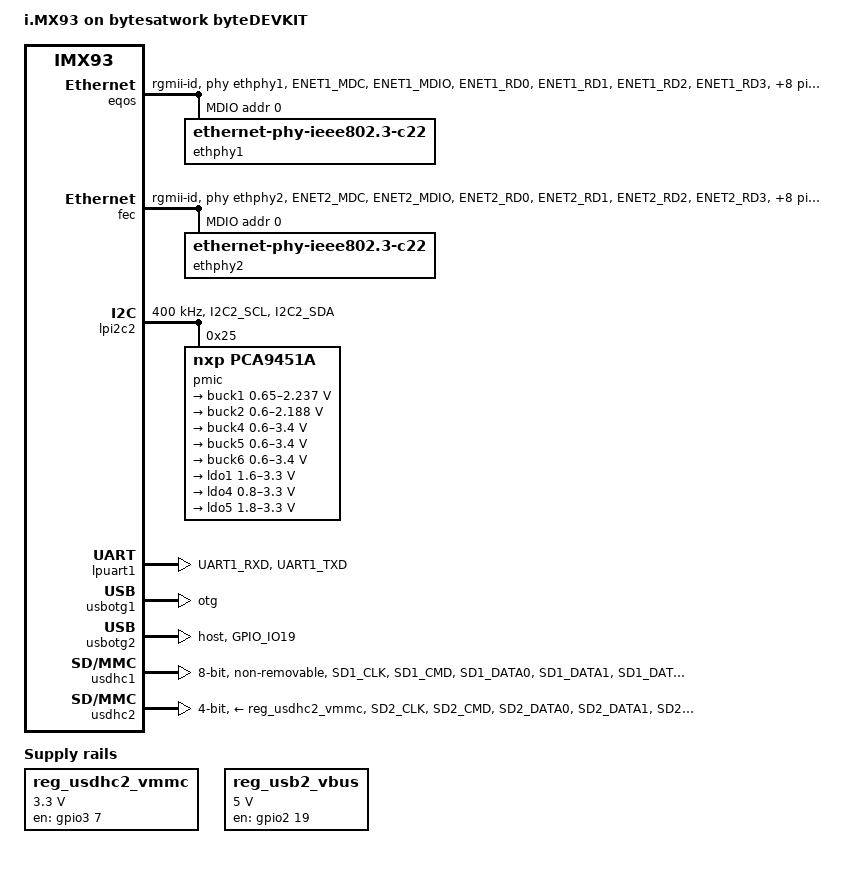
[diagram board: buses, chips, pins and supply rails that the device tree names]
// SPDX-License-Identifier: (GPL-2.0+ OR MIT)
/*
 * Copyright (C) 2025 bytesatwork AG - https://www.bytesatwork.io
 *
 * Based on imx93-11x11-evk.dts
 * Copyright 2022 NXP
 */

/dts-v1/;

#include "imx93.dtsi"

/ {
	model = "i.MX93 on bytesatwork byteDEVKIT";
	compatible = "bytesatwork,bytedevkit-imx93", "bytesatwork,byteengine-imx93", "fsl,imx93";

	chosen {
		bootargs = "console=ttyLP0,115200";
		stdout-path = &lpuart1;
	};

	reg_usdhc2_vmmc: regulator-usdhc2 {
		compatible = "regulator-fixed";
		pinctrl-names = "default";
		pinctrl-0 = <&pinctrl_reg_usdhc2_vmmc>;
		regulator-name = "VSD_3V3";
		regulator-min-microvolt = <3300000>;
		regulator-max-microvolt = <3300000>;
		gpio = <&gpio3 7 GPIO_ACTIVE_HIGH>;
		off-on-delay-us = <12000>;
		enable-active-high;
	};

	reg_usb2_vbus: regulator-vbus {
		compatible = "regulator-fixed";
		regulator-name = "USB2_VBUS";
		regulator-min-microvolt = <5000000>;
		regulator-max-microvolt = <5000000>;
		gpio = <&gpio2 19 GPIO_ACTIVE_HIGH>;
		enable-active-high;
		regulator-always-on;
	};
};

&eqos {
	pinctrl-names = "default";
	pinctrl-0 = <&pinctrl_eqos>;
	phy-mode = "rgmii-id";
	phy-handle = <&ethphy1>;
	status = "okay";

	mdio {
		compatible = "snps,dwmac-mdio";
		#address-cells = <1>;
		#size-cells = <0>;
		clock-frequency = <5000000>;

		ethphy1: ethernet-phy@0 {
			compatible = "ethernet-phy-ieee802.3-c22";
			reg = <0>;
			eee-broken-1000t;
		};
	};
};

&fec {
	pinctrl-names = "default";
	pinctrl-0 = <&pinctrl_fec>;
	phy-mode = "rgmii-id";
	phy-handle = <&ethphy2>;
	fsl,magic-packet;
	status = "okay";

	mdio {
		#address-cells = <1>;
		#size-cells = <0>;
		clock-frequency = <5000000>;

		ethphy2: ethernet-phy@0 {
			compatible = "ethernet-phy-ieee802.3-c22";
			reg = <0>;
			eee-broken-1000t;
		};
	};
};

&lpi2c2 {
	#address-cells = <1>;
	#size-cells = <0>;
	clock-frequency = <400000>;
	pinctrl-names = "default", "sleep";
	pinctrl-0 = <&pinctrl_lpi2c2>;
	pinctrl-1 = <&pinctrl_lpi2c2>;
	status = "okay";

	pmic@25 {
		compatible = "nxp,pca9451a";
		reg = <0x25>;

		regulators {
			buck1: BUCK1 {
				regulator-name = "BUCK1";
				regulator-min-microvolt = <650000>;
				regulator-max-microvolt = <2237500>;
				regulator-boot-on;
				regulator-always-on;
				regulator-ramp-delay = <3125>;
			};

			buck2: BUCK2 {
				regulator-name = "BUCK2";
				regulator-min-microvolt = <600000>;
				regulator-max-microvolt = <2187500>;
				regulator-boot-on;
				regulator-always-on;
				regulator-ramp-delay = <3125>;
			};

			buck4: BUCK4{
				regulator-name = "BUCK4";
				regulator-min-microvolt = <600000>;
				regulator-max-microvolt = <3400000>;
				regulator-boot-on;
				regulator-always-on;
			};

			buck5: BUCK5{
				regulator-name = "BUCK5";
				regulator-min-microvolt = <600000>;
				regulator-max-microvolt = <3400000>;
				regulator-boot-on;
				regulator-always-on;
			};

			buck6: BUCK6 {
				regulator-name = "BUCK6";
				regulator-min-microvolt = <600000>;
				regulator-max-microvolt = <3400000>;
				regulator-boot-on;
				regulator-always-on;
			};

			ldo1: LDO1 {
				regulator-name = "LDO1";
				regulator-min-microvolt = <1600000>;
				regulator-max-microvolt = <3300000>;
				regulator-boot-on;
				regulator-always-on;
			};

			ldo4: LDO4 {
				regulator-name = "LDO4";
				regulator-min-microvolt = <800000>;
				regulator-max-microvolt = <3300000>;
				regulator-boot-on;
				regulator-always-on;
			};

			ldo5: LDO5 {
				regulator-name = "LDO5";
				regulator-min-microvolt = <1800000>;
				regulator-max-microvolt = <3300000>;
				regulator-boot-on;
				regulator-always-on;
			};
		};
	};
};

&lpuart1 { /* console */
	pinctrl-names = "default";
	pinctrl-0 = <&pinctrl_uart1>;
	status = "okay";
};

&usbotg1 {
	dr_mode = "otg";
	usb-role-switch;
	disable-over-current;
	status = "okay";
	/* OC on unsupported TCA6418E IO expander */
};

&usbotg2 {
	dr_mode = "host";
	disable-over-current;
	status = "okay";
	pinctrl-names = "default";
	pinctrl-0 = <&pinctrl_usbotg2>;
	/* OC on unsupported TCA6418E IO expander */
};

/* eMMC */
&usdhc1 {
	pinctrl-names = "default", "state_100mhz", "state_200mhz";
	pinctrl-0 = <&pinctrl_usdhc1>;
	pinctrl-1 = <&pinctrl_usdhc1_100mhz>;
	pinctrl-2 = <&pinctrl_usdhc1_200mhz>;
	bus-width = <8>;
	non-removable;
	status = "okay";
};

/* SD card */
&usdhc2 {
	pinctrl-names = "default", "state_100mhz", "state_200mhz";
	pinctrl-0 = <&pinctrl_usdhc2>, <&pinctrl_usdhc2_gpio>;
	pinctrl-1 = <&pinctrl_usdhc2_100mhz>, <&pinctrl_usdhc2_gpio>;
	pinctrl-2 = <&pinctrl_usdhc2_200mhz>, <&pinctrl_usdhc2_gpio>;
	cd-gpios = <&gpio3 00 GPIO_ACTIVE_LOW>;
	vmmc-supply = <&reg_usdhc2_vmmc>;
	bus-width = <4>;
	status = "okay";
	no-sdio;
	no-mmc;
};

&iomuxc {
	pinctrl_eqos: eqosgrp {
		fsl,pins = <
			MX93_PAD_ENET1_MDC__ENET_QOS_MDC			0x57e
			MX93_PAD_ENET1_MDIO__ENET_QOS_MDIO			0x57e
			MX93_PAD_ENET1_RD0__ENET_QOS_RGMII_RD0			0x57e
			MX93_PAD_ENET1_RD1__ENET_QOS_RGMII_RD1			0x57e
			MX93_PAD_ENET1_RD2__ENET_QOS_RGMII_RD2			0x57e
			MX93_PAD_ENET1_RD3__ENET_QOS_RGMII_RD3			0x57e
			MX93_PAD_ENET1_RXC__CCM_ENET_QOS_CLOCK_GENERATE_RX_CLK	0x5fe
			MX93_PAD_ENET1_RX_CTL__ENET_QOS_RGMII_RX_CTL		0x57e
			MX93_PAD_ENET1_TD0__ENET_QOS_RGMII_TD0			0x57e
			MX93_PAD_ENET1_TD1__ENET_QOS_RGMII_TD1			0x57e
			MX93_PAD_ENET1_TD2__ENET_QOS_RGMII_TD2			0x57e
			MX93_PAD_ENET1_TD3__ENET_QOS_RGMII_TD3			0x57e
			MX93_PAD_ENET1_TXC__CCM_ENET_QOS_CLOCK_GENERATE_TX_CLK	0x5fe
			MX93_PAD_ENET1_TX_CTL__ENET_QOS_RGMII_TX_CTL		0x57e
		>;
	};

	pinctrl_fec: fecgrp {
		fsl,pins = <
			MX93_PAD_ENET2_MDC__ENET1_MDC			0x57e
			MX93_PAD_ENET2_MDIO__ENET1_MDIO			0x57e
			MX93_PAD_ENET2_RD0__ENET1_RGMII_RD0		0x57e
			MX93_PAD_ENET2_RD1__ENET1_RGMII_RD1		0x57e
			MX93_PAD_ENET2_RD2__ENET1_RGMII_RD2		0x57e
			MX93_PAD_ENET2_RD3__ENET1_RGMII_RD3		0x57e
			MX93_PAD_ENET2_RXC__ENET1_RGMII_RXC		0x5fe
			MX93_PAD_ENET2_RX_CTL__ENET1_RGMII_RX_CTL	0x57e
			MX93_PAD_ENET2_TD0__ENET1_RGMII_TD0		0x57e
			MX93_PAD_ENET2_TD1__ENET1_RGMII_TD1		0x57e
			MX93_PAD_ENET2_TD2__ENET1_RGMII_TD2		0x57e
			MX93_PAD_ENET2_TD3__ENET1_RGMII_TD3		0x57e
			MX93_PAD_ENET2_TXC__ENET1_RGMII_TXC		0x5fe
			MX93_PAD_ENET2_TX_CTL__ENET1_RGMII_TX_CTL	0x57e
		>;
	};

	pinctrl_lpi2c2: lpi2c2grp {
		fsl,pins = <
			MX93_PAD_I2C2_SCL__LPI2C2_SCL			0x40000b9e
			MX93_PAD_I2C2_SDA__LPI2C2_SDA			0x40000b9e
		>;
	};

	pinctrl_uart1: uart1grp {
		fsl,pins = <
			MX93_PAD_UART1_RXD__LPUART1_RX			0x31e
			MX93_PAD_UART1_TXD__LPUART1_TX			0x31e
		>;
	};

	/* need to config the SION for data and cmd pad, refer to ERR052021 */
	pinctrl_usdhc1: usdhc1grp {
		fsl,pins = <
			MX93_PAD_SD1_CLK__USDHC1_CLK		0x1582
			MX93_PAD_SD1_CMD__USDHC1_CMD		0x40001382
			MX93_PAD_SD1_DATA0__USDHC1_DATA0	0x40001382
			MX93_PAD_SD1_DATA1__USDHC1_DATA1	0x40001382
			MX93_PAD_SD1_DATA2__USDHC1_DATA2	0x40001382
			MX93_PAD_SD1_DATA3__USDHC1_DATA3	0x40001382
			MX93_PAD_SD1_DATA4__USDHC1_DATA4	0x40001382
			MX93_PAD_SD1_DATA5__USDHC1_DATA5	0x40001382
			MX93_PAD_SD1_DATA6__USDHC1_DATA6	0x40001382
			MX93_PAD_SD1_DATA7__USDHC1_DATA7	0x40001382
			MX93_PAD_SD1_STROBE__USDHC1_STROBE	0x1582
		>;
	};

	/* need to config the SION for data and cmd pad, refer to ERR052021 */
	pinctrl_usdhc1_100mhz: usdhc1-100mhzgrp {
		fsl,pins = <
			MX93_PAD_SD1_CLK__USDHC1_CLK		0x158e
			MX93_PAD_SD1_CMD__USDHC1_CMD		0x4000138e
			MX93_PAD_SD1_DATA0__USDHC1_DATA0	0x4000138e
			MX93_PAD_SD1_DATA1__USDHC1_DATA1	0x4000138e
			MX93_PAD_SD1_DATA2__USDHC1_DATA2	0x4000138e
			MX93_PAD_SD1_DATA3__USDHC1_DATA3	0x4000138e
			MX93_PAD_SD1_DATA4__USDHC1_DATA4	0x4000138e
			MX93_PAD_SD1_DATA5__USDHC1_DATA5	0x4000138e
			MX93_PAD_SD1_DATA6__USDHC1_DATA6	0x4000138e
			MX93_PAD_SD1_DATA7__USDHC1_DATA7	0x4000138e
			MX93_PAD_SD1_STROBE__USDHC1_STROBE	0x158e
		>;
	};

	/* need to config the SION for data and cmd pad, refer to ERR052021 */
	pinctrl_usdhc1_200mhz: usdhc1-200mhzgrp {
		fsl,pins = <
			MX93_PAD_SD1_CLK__USDHC1_CLK		0x15fe
			MX93_PAD_SD1_CMD__USDHC1_CMD		0x400013fe
			MX93_PAD_SD1_DATA0__USDHC1_DATA0	0x400013fe
			MX93_PAD_SD1_DATA1__USDHC1_DATA1	0x400013fe
			MX93_PAD_SD1_DATA2__USDHC1_DATA2	0x400013fe
			MX93_PAD_SD1_DATA3__USDHC1_DATA3	0x400013fe
			MX93_PAD_SD1_DATA4__USDHC1_DATA4	0x400013fe
			MX93_PAD_SD1_DATA5__USDHC1_DATA5	0x400013fe
			MX93_PAD_SD1_DATA6__USDHC1_DATA6	0x400013fe
			MX93_PAD_SD1_DATA7__USDHC1_DATA7	0x400013fe
			MX93_PAD_SD1_STROBE__USDHC1_STROBE	0x15fe
		>;
	};

	pinctrl_reg_usdhc2_vmmc: regusdhc2vmmcgrp {
		fsl,pins = <
			MX93_PAD_SD2_RESET_B__GPIO3_IO07	0x31e
		>;
	};

	pinctrl_usdhc2_gpio: usdhc2gpiogrp {
		fsl,pins = <
			MX93_PAD_SD2_CD_B__GPIO3_IO00		0x31e
		>;
	};

	/* need to config the SION for data and cmd pad, refer to ERR052021 */
	pinctrl_usdhc2: usdhc2grp {
		fsl,pins = <
			MX93_PAD_SD2_CLK__USDHC2_CLK		0x1582
			MX93_PAD_SD2_CMD__USDHC2_CMD		0x40001382
			MX93_PAD_SD2_DATA0__USDHC2_DATA0	0x40001382
			MX93_PAD_SD2_DATA1__USDHC2_DATA1	0x40001382
			MX93_PAD_SD2_DATA2__USDHC2_DATA2	0x40001382
			MX93_PAD_SD2_DATA3__USDHC2_DATA3	0x40001382
			MX93_PAD_SD2_VSELECT__USDHC2_VSELECT	0x51e
		>;
	};

	/* need to config the SION for data and cmd pad, refer to ERR052021 */
	pinctrl_usdhc2_100mhz: usdhc2-100mhzgrp {
		fsl,pins = <
			MX93_PAD_SD2_CLK__USDHC2_CLK		0x158e
			MX93_PAD_SD2_CMD__USDHC2_CMD		0x4000138e
			MX93_PAD_SD2_DATA0__USDHC2_DATA0	0x4000138e
			MX93_PAD_SD2_DATA1__USDHC2_DATA1	0x4000138e
			MX93_PAD_SD2_DATA2__USDHC2_DATA2	0x4000138e
			MX93_PAD_SD2_DATA3__USDHC2_DATA3	0x4000138e
			MX93_PAD_SD2_VSELECT__USDHC2_VSELECT	0x51e
		>;
	};

	/* need to config the SION for data and cmd pad, refer to ERR052021 */
	pinctrl_usdhc2_200mhz: usdhc2-200mhzgrp {
		fsl,pins = <
			MX93_PAD_SD2_CLK__USDHC2_CLK		0x15fe
			MX93_PAD_SD2_CMD__USDHC2_CMD		0x400013fe
			MX93_PAD_SD2_DATA0__USDHC2_DATA0	0x400013fe
			MX93_PAD_SD2_DATA1__USDHC2_DATA1	0x400013fe
			MX93_PAD_SD2_DATA2__USDHC2_DATA2	0x400013fe
			MX93_PAD_SD2_DATA3__USDHC2_DATA3	0x400013fe
			MX93_PAD_SD2_VSELECT__USDHC2_VSELECT	0x51e
		>;
	};

	pinctrl_usbotg2: usbotg2grp {
		fsl,pins = <
			MX93_PAD_GPIO_IO19__GPIO2_IO19		0x31e
		>;
	};
};
